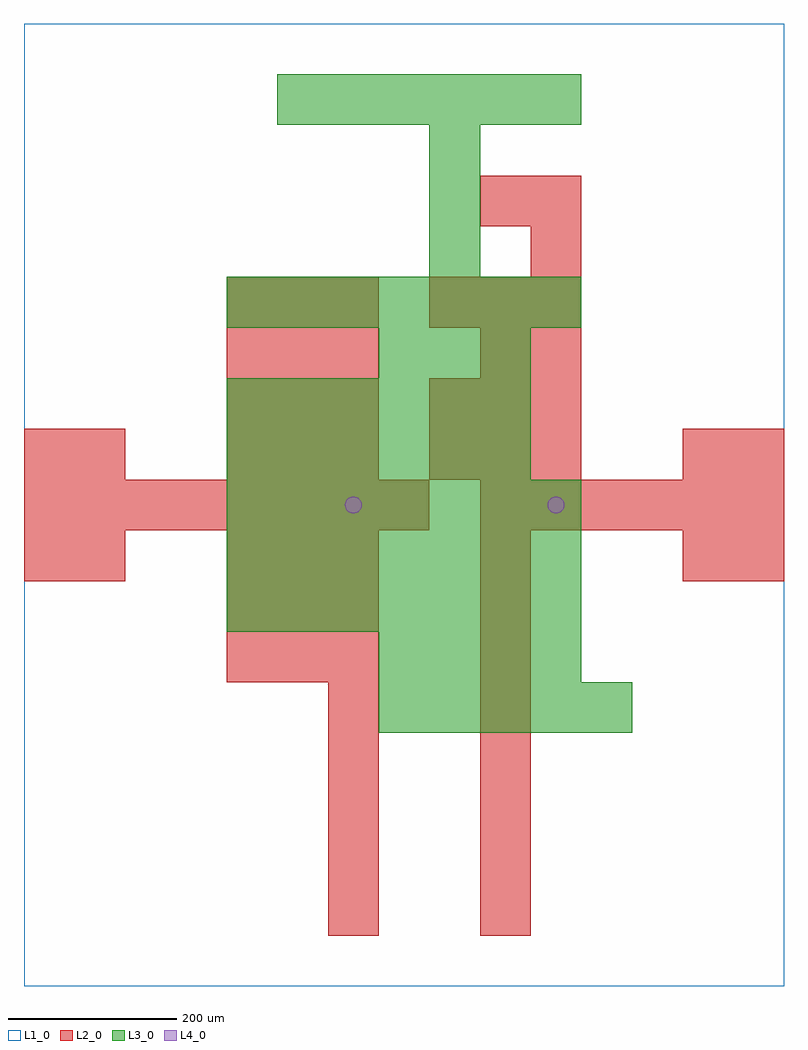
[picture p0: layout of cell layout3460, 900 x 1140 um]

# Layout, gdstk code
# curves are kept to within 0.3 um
import gdstk
lib = gdstk.Library(unit=1e-6, precision=1e-09)
def R(c, l, rs):  # rectangles x0, y0, x1, y1
    for r in rs: c.add(gdstk.rectangle(r[:2], r[2:], *l))
def A(c, l, x, y, w, h, nx, ny, dx, dy):  # array of equal rectangles
    R(c, l, [(x+i*dx, y+j*dy, x+i*dx+w, y+j*dy+h) for i in range(nx) for j in range(ny)])
def P(c, l, *ps):  # polygons
    for p in ps: c.add(gdstk.Polygon(p, *l))
L1_0 = (1, 0)
L2_0 = (2, 0)
L3_0 = (3, 0)
L4_0 = (4, 0)

layout3460 = lib.new_cell('layout3460')
R(layout3460, L1_0, [(0,0,900,1140)])
A(layout3460, L2_0, 360, 60, 60, 60, 1, 5, 0, 60)
A(layout3460, L2_0, 540, 60, 60, 60, 1, 8, 0, 60)
A(layout3460, L2_0, 240, 360, 60, 60, 3, 3, 60, 60)
A(layout3460, L2_0, 0, 540, 60, 60, 8, 1, 60, 0)
A(layout3460, L2_0, 540, 540, 60, 60, 6, 1, 60, 0)
A(layout3460, L2_0, 240, 600, 60, 60, 3, 4, 60, 60)
A(layout3460, L2_0, 480, 600, 60, 60, 3, 2, 60, 60)
A(layout3460, L2_0, 480, 780, 60, 60, 3, 1, 60, 0)
R(layout3460, L2_0, [(0,480,60,540), (60,480,120,540), (780,480,840,540), (840,480,900,540), (0,600,60,660), (60,600,120,660), (780,600,840,660), (840,600,900,660), (540,720,600,780), (600,720,660,780), (600,840,660,900), (540,900,600,960), (600,900,660,960)])
A(layout3460, L3_0, 420, 300, 60, 60, 5, 1, 60, 0)
A(layout3460, L3_0, 420, 360, 60, 60, 4, 1, 60, 0)
A(layout3460, L3_0, 240, 420, 60, 60, 7, 3, 60, 60)
A(layout3460, L3_0, 240, 600, 60, 60, 6, 2, 60, 60)
A(layout3460, L3_0, 420, 720, 60, 60, 3, 1, 60, 0)
A(layout3460, L3_0, 240, 780, 60, 60, 7, 1, 60, 0)
A(layout3460, L3_0, 480, 840, 60, 60, 1, 3, 0, 60)
A(layout3460, L3_0, 300, 1020, 60, 60, 6, 1, 60, 0)
P(layout3460, L4_0, [(400,570),(399.239,573.827),(397.071,577.071),(393.827,579.239),(390,580),(386.173,579.239),(382.929,577.071),(380.761,573.827),(380,570),(380.761,566.173),(382.929,562.929),(386.173,560.761),(390,560),(393.827,560.761),(397.071,562.929),(399.239,566.173)],
  [(640,570),(639.239,573.827),(637.071,577.071),(633.827,579.239),(630,580),(626.173,579.239),(622.929,577.071),(620.761,573.827),(620,570),(620.761,566.173),(622.929,562.929),(626.173,560.761),(630,560),(633.827,560.761),(637.071,562.929),(639.239,566.173)])

lib.write_gds('layout3460.gds')
